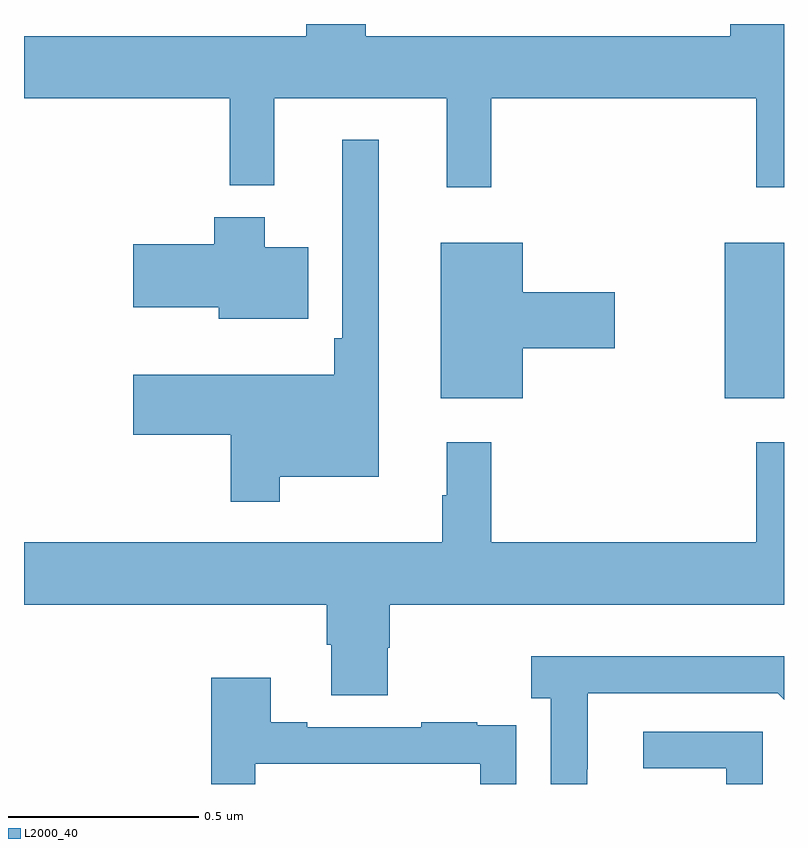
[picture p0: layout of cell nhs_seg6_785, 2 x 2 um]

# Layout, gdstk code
import gdstk
lib = gdstk.Library(unit=1e-6, precision=1e-09)
def R(c, l, rs):  # rectangles x0, y0, x1, y1
    for r in rs: c.add(gdstk.rectangle(r[:2], r[2:], *l))
def P(c, l, *ps):  # polygons
    for p in ps: c.add(gdstk.Polygon(p, *l))
L2000_40 = (2000, 40)

nhs_seg6_785 = lib.new_cell('nhs_seg6_785')
R(nhs_seg6_785, L2000_40, [(121.844,978.515,122,978.925)])
P(nhs_seg6_785, L2000_40, [(121.229,979.304),(121.927,979.304),(121.927,979.071),(122,979.071),(122,979.5),(121.859,979.5),(121.859,979.468),(120.899,979.468),(120.899,979.5),(120.743,979.5),(120.743,979.468),(120,979.468),(120,979.304),(120.541,979.304),(120.541,979.076),(120.659,979.076),(120.659,979.304),(121.112,979.304),(121.112,979.071),(121.229,979.071)],
  [(120.673,978.308),(120.934,978.308),(120.934,979.195),(120.837,979.195),(120.837,978.673),(120.817,978.673),(120.817,978.577),(120.288,978.577),(120.288,978.419),(120.544,978.419),(120.544,978.243),(120.673,978.243)],
  [(120.748,978.913),(120.634,978.913),(120.634,978.991),(120.5,978.991),(120.5,978.921),(120.288,978.921),(120.288,978.755),(120.512,978.755),(120.512,978.725),(120.748,978.725)],
  [(121.312,978.647),(121.555,978.647),(121.555,978.794),(121.312,978.794),(121.312,978.925),(121.097,978.925),(121.097,978.515),(121.312,978.515)],
  [(120.957,977.859),(120.962,977.859),(120.962,977.972),(122,977.972),(122,978.4),(121.927,978.4),(121.927,978.136),(121.229,978.136),(121.229,978.4),(121.112,978.4),(121.112,978.26),(121.101,978.26),(121.101,978.136),(120,978.136),(120,977.972),(120.797,977.972),(120.797,977.866),(120.809,977.866),(120.809,977.734),(120.957,977.734)],
  [(121.482,977.539),(121.483,977.539),(121.483,977.739),(121.983,977.739),(122,977.722),(122,977.836),(121.335,977.836),(121.335,977.726),(121.386,977.726),(121.386,977.5),(121.482,977.5)],
  [(120.609,977.553),(121.2,977.553),(121.2,977.5),(121.296,977.5),(121.296,977.546),(121.295,977.546),(121.295,977.655),(121.193,977.655),(121.193,977.662),(121.045,977.662),(121.045,977.649),(120.745,977.649),(120.745,977.662),(120.649,977.662),(120.649,977.779),(120.493,977.779),(120.493,977.5),(120.609,977.5)],
  [(121.944,977.637),(121.629,977.637),(121.629,977.541),(121.848,977.541),(121.848,977.5),(121.944,977.5)])

lib.write_gds('nhs_seg6_785.gds')
